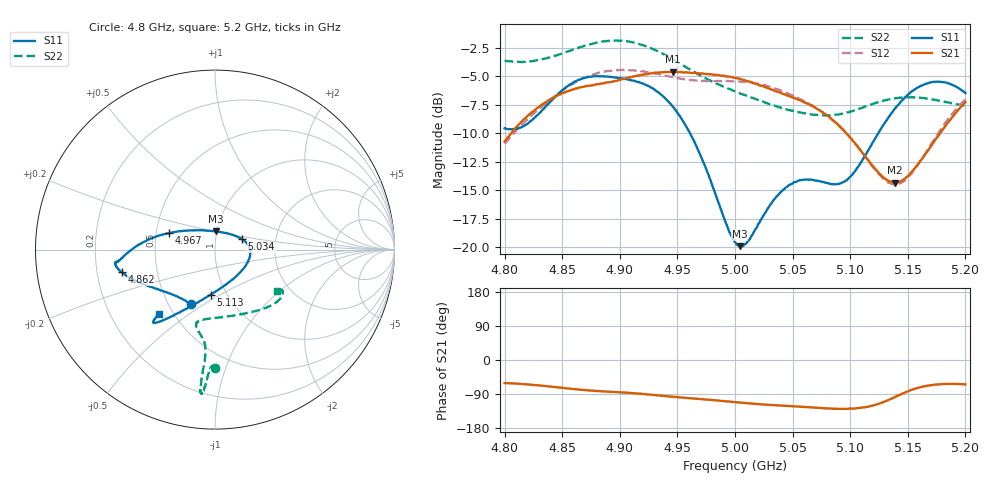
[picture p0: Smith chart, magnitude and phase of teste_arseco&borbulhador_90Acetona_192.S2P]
! Network Analyzer HP8722D
! Hewlett-Packard
! Data name: Linha & Wilkinson
! Saver's name: Rodrigo Anjos
! Comments: Teste da utilização de aquisição
! continua pelo VNA HP8722D
! Time and date: 17/4/2025 12:39
!  Frequency  S11  S21  S12  S22
# HZ  S  MA R 50
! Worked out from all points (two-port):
!   401 points, 4.8 GHz to 5.2 GHz, reference 50 ohm
!   highest |S21| = -4.61 dB at 4.946 GHz (marker M1); lowest = -14.3 dB at 5.139 GHz (marker M2)
!   |S21| within 3 dB of the highest: 4.831 GHz to 5.067 GHz (236.5 MHz wide, 4.78 % of centre); 5.196861 GHz to end of sweep
!   lowest |S11| = -19.9 dB at 5.004 GHz (marker M3), VSWR 1.23, Z = 49.7 + j10.1 ohm
!   |S11| at or under -10 dB: 4.961 GHz to 5.124 GHz (163.4 MHz wide, 3.24 % of centre)
!   |S22| runs from -8.5 to -1.9 dB; largest |S21 - S12| = 0.88
!   S11 on the Smith chart (normalised r, x): 4.8 GHz: 0.64, -0.44; 4.862 GHz: 0.31, -0.11; 4.967 GHz: 0.58, +0.12; 5.034 GHz: 1.35, +0.16; 5.113 GHz: 0.84, -0.45; 5.2 GHz: 0.42, -0.39
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4.8e9  0.3326 -113.8  0.2908 -61.0  0.2845 -175.2  0.6575 -89.8
4.819e9  0.3462 -133.9  0.3726 -64.1  0.3603 -173.8  0.6515 -91.5
4.862e9  0.5349 -166.3  0.4978 -77.2  0.5304 -177.0  0.7431 -93.8
4.867e9  0.5481 -168.3  0.5036 -78.9  0.5475 -178.1  0.7569 -94.0
4.9e9  0.552 -173.0  0.5417 -85.3  0.5985 175.5  0.8045 -95.5
4.934e9  0.4759 -179.1  0.5822 -93.7  0.5749 171.7  0.7174 -96.0
4.946e9  0.4134 175.3  0.5882 -97.1  0.557 171.8  0.6675 -95.7
4.967e9  0.274 160.4  0.5799 -102.2  0.5373 173.7  0.5773 -95.2
5e9  0.1057 99.7  0.5523 -111.3  0.5346 176.0  0.4828 -99.5
5.004e9  0.1012 86.0  0.5481 -112.3  0.5322 176.1  0.4738 -100.4
5.012e9  0.1073 60.6  0.5326 -114.4  0.5273 175.7  0.4575 -102.0
5.034e9  0.1622 21.0  0.4868 -119.4  0.497 174.8  0.4186 -103.9
5.05e9  0.1905 4.7  0.4541 -122.2  0.4631 174.0  0.3971 -99.9
5.067e9  0.1978 -13.4  0.4177 -125.0  0.4184 173.6  0.3825 -90.9
5.093e9  0.1924 -57.8  0.3312 -128.9  0.3289 173.9  0.3849 -70.9
5.113e9  0.2525 -95.6  0.2507 -124.6  0.2498 179.9  0.4136 -55.2
5.134e9  0.3751 -117.0  0.1946 -104.5  0.1914 -157.4  0.4454 -43.1
5.139e9  0.4065 -119.9  0.1924 -97.6  0.1889 -149.4  0.4501 -40.9
5.151e9  0.4707 -125.1  0.2074 -81.5  0.2053 -131.0  0.4547 -36.5
5.17e9  0.528 -129.4  0.2769 -66.4  0.2821 -112.6  0.4459 -32.1
5.184e9  0.5254 -130.7  0.3488 -63.1  0.36 -107.4  0.4327 -31.2
5.2e9  0.4738 -131.1  0.433 -64.4  0.4446 -106.6  0.4161 -33.5
